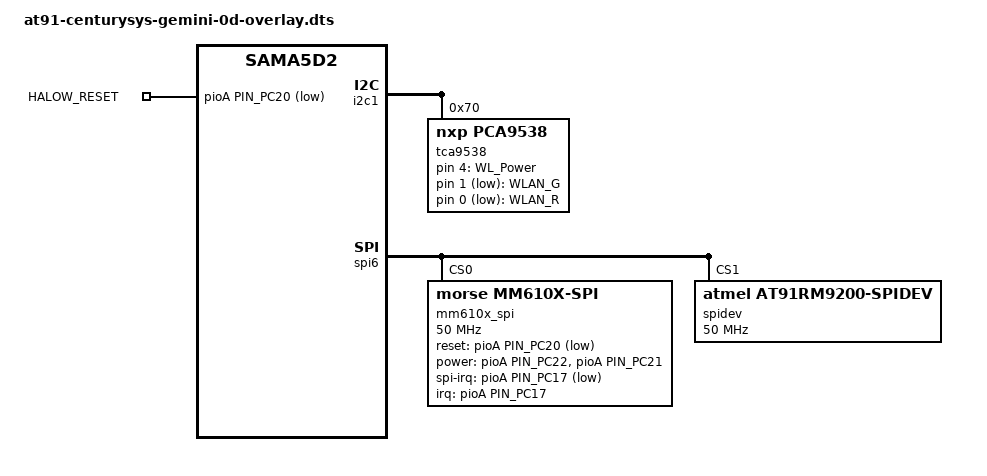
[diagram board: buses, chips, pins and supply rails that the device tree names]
// SPDX-License-Identifier: (GPL-2.0+ OR MIT)
/*
 * at91-centurysys-gemini-09-overlay.dts - Device Tree Overlay file (xio_id: 0x09)
 *                                           for Century Systems Gemini board
 *
 *  Copyright (C) 2023 Century Systems
 *                     Takeyoshi Kikuchi <kikuchi@centurysys.co.jp>
 */

/dts-v1/;
/plugin/;
#include "sama5d2-pinfunc.h"
#include <dt-bindings/mfd/atmel-flexcom.h>
#include <dt-bindings/gpio/gpio.h>
#include <dt-bindings/interrupt-controller/irq.h>
#include <dt-bindings/pinctrl/at91.h>
#include <dt-bindings/regulator/active-semi,8945a-regulator.h>

/ {
	compatible = "atmel,sama5d2-gemini", "atmel,sama5d2", "atmel,sama5";

	fragment@0 {
		target = <&pioA>;
		__overlay__ {
			pinctrl_spi6_halow_default: spi6_halow_default {
				gpio {
					pinmux = <PIN_PC20__GPIO>,
						 <PIN_PC21__GPIO>,
						 <PIN_PC22__GPIO>;
					atmel,drive-strength = <ATMEL_PIO_DRVSTR_LO>;
					bias-pull-up;
					output-high;
				};
			};
		};
	};

	fragment@1 {
		target = <&i2c1>;
		__overlay__ {
			#address-cells = <1>;
			#size-cells = <0>;

			tca9538: tca9538@70 {
				compatible = "nxp,pca9538";
				reg = <0x70>;
				#address-cells = <1>;
				#size-cells = <0>;
				#gpio-cells = <2>;

				gpio-line-names = "WLAN_LED_R",
						  "WLAN_LED_G",
						  "Reserved2",
						  "Reserved3",
						  "WLAN_Power",
						  "Reserved5",
						  "Reserved6",
						  "WL_RESET_N";
			};
		};
	};

	fragment@2 {
		target = <&spi6>;
		__overlay__ {
			status = "okay";
			#address-cells = <1>;
			#size-cells = <0>;

			mm610x_spi: mm610x_spi@0 {
				compatible = "morse,mm610x-spi";
				spi-max-frequency = <50000000>;
				pinctrl-names = "default";
				pinctrl-0 = <&pinctrl_spi6_halow_default>;
				reset-gpios = <&pioA PIN_PC20 GPIO_ACTIVE_LOW>;
				power-gpios = <&pioA PIN_PC22 GPIO_ACTIVE_HIGH>,
					      <&pioA PIN_PC21 GPIO_ACTIVE_HIGH>;
				spi-irq-gpios = <&pioA PIN_PC17 GPIO_ACTIVE_LOW>;
				reg = <0>;
				#gpio-cells = <2>;
				interrupt-parent = <&pioA>;
				interrupts = <PIN_PC17 IRQ_TYPE_LEVEL_LOW>;
				status = "okay";
			};

			spidev: spidev@1 {
				compatible = "atmel,at91rm9200-spidev";
				spi-max-frequency = <50000000>;
				reg = <1>;
			};
		};
	};

	fragment@3 {
		target = <&leds>;
		__overlay__ {
			halow_power {
				label = "WL_Power";
				gpios = <&tca9538 4 GPIO_ACTIVE_HIGH>;
				default-state = "on";
			};

			halow_green {
				label = "WLAN_G";
				gpios = <&tca9538 1 GPIO_ACTIVE_LOW>;
			};

			halow_red {
				label = "WLAN_R";
				gpios = <&tca9538 0 GPIO_ACTIVE_LOW>;
			};

			halow_reset {
				label = "HALOW_RESET";
				gpios = <&pioA PIN_PC20 GPIO_ACTIVE_LOW>;
			};
		};
	};
};
